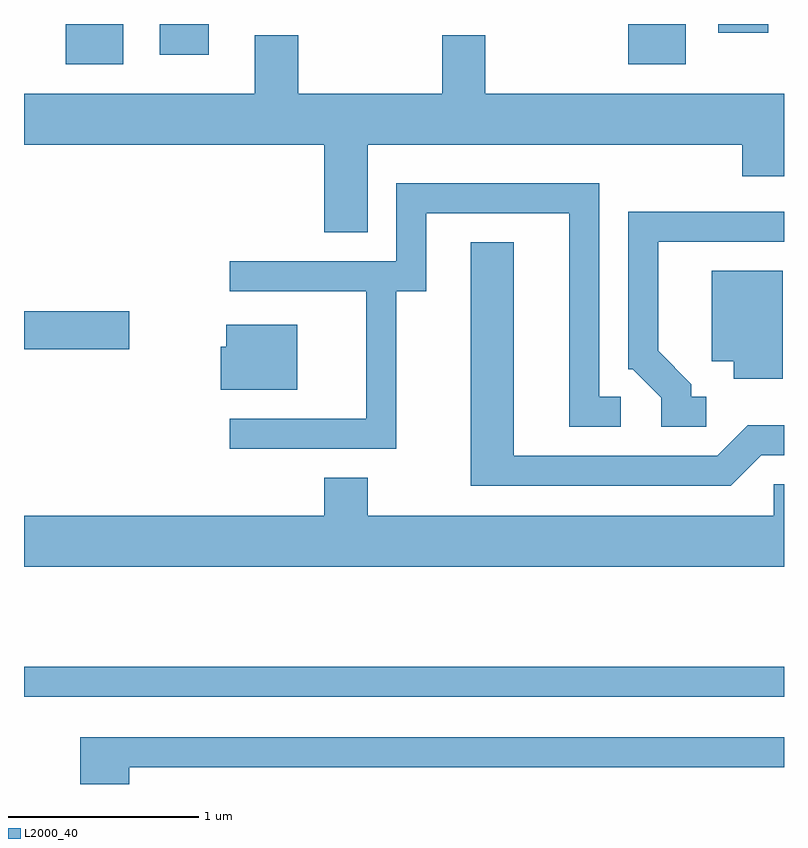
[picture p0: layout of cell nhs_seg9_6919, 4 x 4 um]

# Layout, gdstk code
import gdstk
lib = gdstk.Library(unit=1e-6, precision=1e-09)
def R(c, l, rs):  # rectangles x0, y0, x1, y1
    for r in rs: c.add(gdstk.rectangle(r[:2], r[2:], *l))
def P(c, l, *ps):  # polygons
    for p in ps: c.add(gdstk.Polygon(p, *l))
L2000_40 = (2000, 40)

nhs_seg9_6919 = lib.new_cell('nhs_seg9_6919')
R(nhs_seg9_6919, L2000_40, [(389.611,2008.891,393.611,2009.049), (389.611,2010.721,390.164,2010.919), (389.831,2012.221,390.134,2012.432), (392.791,2012.221,393.094,2012.432), (393.266,2012.386,393.529,2012.432)])
P(nhs_seg9_6919, L2000_40, [(390.584,2012.432),(390.306,2012.432),(390.306,2012.431),(390.326,2012.431),(390.326,2012.271),(390.584,2012.271)],
  [(391.419,2011.796),(393.391,2011.796),(393.391,2011.631),(393.611,2011.631),(393.611,2012.064),(392.039,2012.064),(392.039,2012.374),(391.811,2012.374),(391.811,2012.064),(391.054,2012.064),(391.054,2012.374),(390.826,2012.374),(390.826,2012.064),(389.611,2012.064),(389.611,2011.796),(391.191,2011.796),(391.191,2011.336),(391.419,2011.336)],
  [(391.569,2011.026),(391.729,2011.026),(391.729,2011.436),(392.481,2011.436),(392.481,2010.311),(392.753,2010.311),(392.753,2010.469),(392.639,2010.469),(392.639,2011.594),(391.571,2011.594),(391.571,2011.184),(390.693,2011.184),(390.693,2011.026),(391.411,2011.026),(391.411,2010.354),(390.693,2010.354),(390.693,2010.196),(391.569,2010.196)],
  [(393.203,2010.469),(393.124,2010.469),(393.124,2010.537),(392.949,2010.712),(392.949,2011.286),(393.611,2011.286),(393.611,2011.444),(392.791,2011.444),(392.791,2010.616),(392.814,2010.616),(392.966,2010.464),(392.966,2010.311),(393.203,2010.311)],
  [(393.492,2010.161),(393.611,2010.161),(393.611,2010.319),(393.419,2010.319),(393.259,2010.159),(392.189,2010.159),(392.189,2011.284),(391.961,2011.284),(391.961,2010.001),(393.332,2010.001)],
  [(393.604,2011.134),(393.231,2011.134),(393.231,2010.656),(393.346,2010.656),(393.346,2010.566),(393.604,2010.566)],
  [(391.049,2010.849),(390.676,2010.849),(390.676,2010.734),(390.646,2010.734),(390.646,2010.506),(391.049,2010.506)],
  [(393.611,2010.009),(393.556,2010.009),(393.556,2009.844),(391.419,2009.844),(391.419,2010.044),(391.191,2010.044),(391.191,2009.844),(389.611,2009.844),(389.611,2009.576),(393.611,2009.576)],
  [(390.164,2008.521),(393.611,2008.521),(393.611,2008.679),(389.906,2008.679),(389.906,2008.432),(390.164,2008.432)])

lib.write_gds('nhs_seg9_6919.gds')
